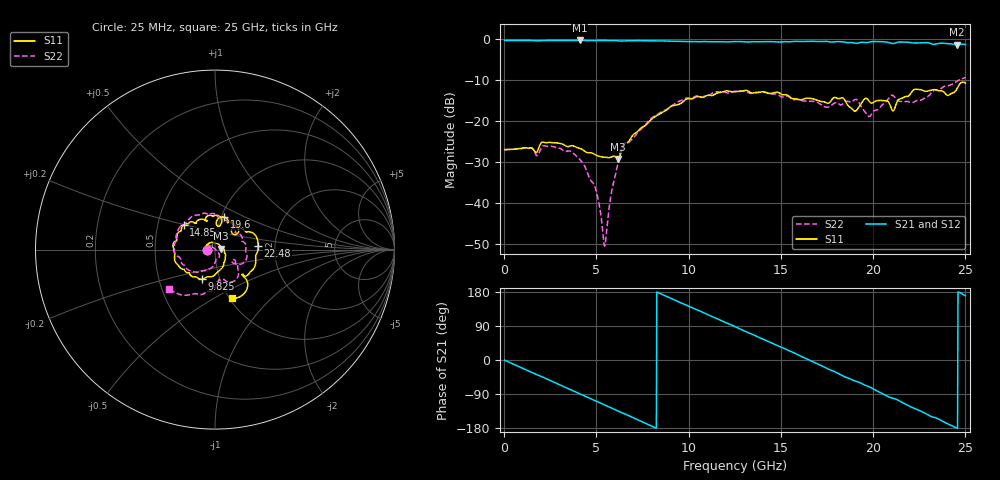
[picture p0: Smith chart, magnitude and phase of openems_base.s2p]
! RG_ts6_sw_pwr: Finite board 24 × 16 mm, ThunderScope stack, via F → In3 (stub to B) through In1 GND / In2 PWR / In4 GND, four GND vias at 1 mm joined to In1 and In4 (openings in In2)
! stackup: ThunderScope Rev5.3 6-layer with the In2 plane
! ports: 1 F, 2 In3
! openEMS 0.37.0, staircase, base mesh (dfine 0.07 mm), 779220 cells
# Hz S RI R 50
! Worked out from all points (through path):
!   1000 points, 25 MHz to 25 GHz, reference 50 ohm
!   highest |S21| = -0.39 dB at 4.1 GHz (marker M1); lowest = -1.4 dB at 24.55 GHz (marker M2)
!   group delay of S21, straight-line fit = 60.9 ps
!   lowest |S11| = -29.3 dB at 6.175 GHz (marker M3), VSWR 1.07, Z = 53.5 + j0.564 ohm
!   |S11| at or under -10 dB: start of sweep to end of sweep
!   |S22| runs from -50.6 to -9.4 dB; largest |S21 - S12| = 0.011
!   S11 on the Smith chart (normalised r, x): 25 MHz: 0.91, +0.00; 9.825 GHz: 0.82, -0.28; 14.85 GHz: 0.68, +0.20; 19.6 GHz: 1.03, +0.39; 22.48 GHz: 1.63, +0.07; 25 GHz: 1.02, -0.61
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2.5e7  -0.0447 7.6e-05  0.9555 -0.0092  0.9547 -0.00888  -0.0442 -0.000168
2.05e9  -0.0546 0.00518  0.683 -0.6633  0.6833 -0.6625  -0.0479 -0.00346
4.1e9  -0.0245 0.0393  0.0143 -0.9557  0.0165 -0.9555  -0.0283 0.0187
4.2e9  -0.0212 0.0399  -0.0226 -0.9554  -0.0206 -0.9559  -0.0259 0.0185
4.975e9  0.00409 0.038  -0.2985 -0.9068  -0.2961 -0.9078  -0.00954 0.0109
5.45e9  0.0211 0.0292  -0.4589 -0.8373  -0.4569 -0.8391  0.0024 0.00174
6.175e9  0.034 0.00526  -0.6698 -0.6696  -0.6675 -0.6716  0.0221 -0.0227
6.475e9  0.0508 -0.001  -0.7309 -0.5956  -0.7295 -0.5972  0.0158 -0.05
8.35e9  0.0263 -0.1153  -0.944 0.0362  -0.9442 0.0327  -0.0448 -0.1128
9.825e9  -0.0749 -0.165  -0.7673 0.5244  -0.7688 0.5211  -0.1518 -0.1118
1.1075e10  -0.1669 -0.12  -0.445 0.8088  -0.4486 0.806  -0.1987 -0.0414
1.2525e10  -0.2254 -0.022  0.0358 0.926  0.0302 0.9255  -0.216 0.0797
1.485e10  -0.1737 0.1397  0.7304 0.5519  0.7254 0.5578  -0.0494 0.2014
1.6675e10  -0.0799 0.1689  0.9333 -0.0504  0.9342 -0.0416  0.0856 0.151
1.8325e10  0.0123 0.1908  0.6956 -0.6035  0.7027 -0.5979  0.1514 0.0468
1.9e10  0.0201 0.1299  0.5045 -0.729  0.5141 -0.7259  0.1781 -0.0353
1.96e10  0.0512 0.1812  0.348 -0.8307  0.3566 -0.8302  0.1005 -0.0747
2.085e10  0.1321 0.1027  -0.1172 -0.8929  -0.1099 -0.8965  0.131 -0.1381
2.11e10  0.0938 0.0935  -0.1695 -0.8612  -0.1621 -0.8678  0.0879 -0.1817
2.2475e10  0.2404 0.0194  -0.6031 -0.6566  -0.6019 -0.6616  0.0132 -0.1774
2.455e10  0.1781 -0.1729  -0.8482 -0.00858  -0.8495 -0.0118  -0.1682 -0.2545
2.5e10  0.0937 -0.2723  -0.8348 0.1575  -0.8341 0.1536  -0.259 -0.2175
